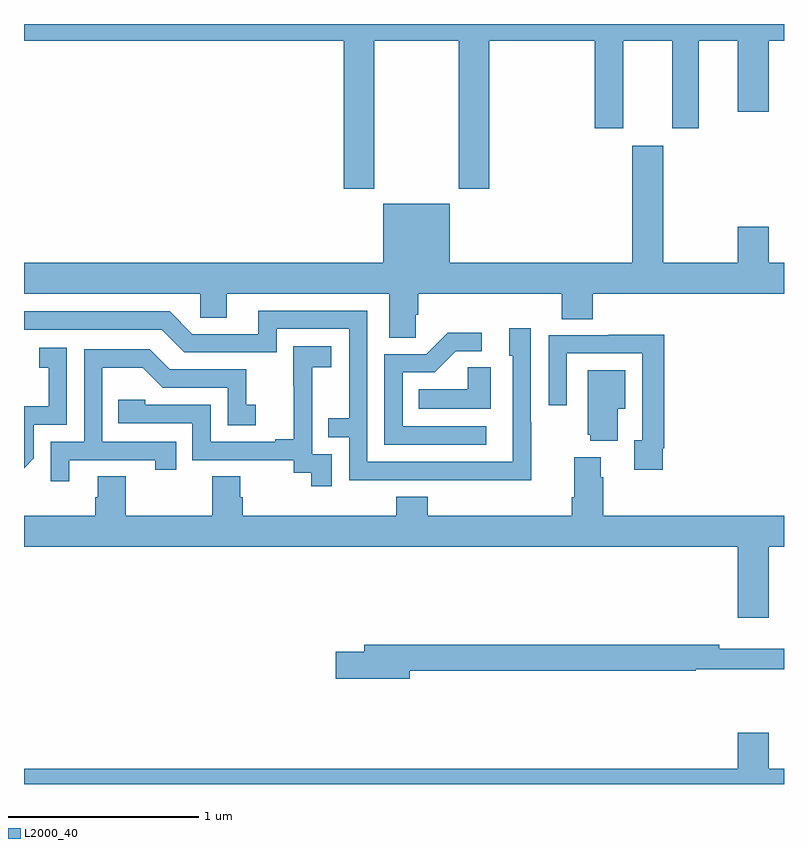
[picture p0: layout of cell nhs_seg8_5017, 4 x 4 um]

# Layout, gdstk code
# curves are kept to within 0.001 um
import gdstk
lib = gdstk.Library(unit=1e-6, precision=1e-09)
def P(c, l, *ps):  # polygons
    for p in ps: c.add(gdstk.Polygon(p, *l))
L2000_40 = (2000, 40)

nhs_seg8_5017 = lib.new_cell('nhs_seg8_5017')
P(nhs_seg8_5017, L2000_40, [(414.843,1137.812),(415.288,1137.812),(415.288,1137.033),(415.448,1137.033),(415.448,1137.812),(416.003,1137.812),(416.003,1137.351),(416.155,1137.351),(416.155,1137.812),(416.411,1137.812),(416.411,1137.351),(416.551,1137.351),(416.551,1137.812),(416.756,1137.812),(416.756,1137.438),(416.92,1137.438),(416.92,1137.812),(417,1137.812),(417,1137.9),(413,1137.9),(413,1137.812),(414.683,1137.812),(414.683,1137.033),(414.843,1137.033)],
  [(415.062,1136.371),(415.076,1136.371),(415.076,1136.48),(415.829,1136.48),(415.829,1136.347),(415.994,1136.347),(415.994,1136.48),(417,1136.48),(417,1136.644),(416.92,1136.644),(416.92,1136.833),(416.756,1136.833),(416.756,1136.644),(416.365,1136.644),(416.365,1137.259),(416.201,1137.259),(416.201,1136.644),(415.24,1136.644),(415.24,1136.953),(414.89,1136.953),(414.89,1136.644),(413,1136.644),(413,1136.48),(413.928,1136.48),(413.928,1136.353),(414.067,1136.353),(414.067,1136.48),(414.923,1136.48),(414.923,1136.248),(415.062,1136.248)],
  [(415.671,1135.805),(415.668,1135.805),(415.668,1136.299),(415.553,1136.299),(415.553,1136.154),(415.572,1136.154),(415.572,1135.596),(414.807,1135.596),(414.807,1136.391),(414.233,1136.391),(414.233,1136.268),(413.886,1136.268),(413.766,1136.388),(413,1136.388),(413,1136.292),(413.724,1136.292),(413.844,1136.172),(414.33,1136.172),(414.33,1136.295),(414.711,1136.295),(414.711,1135.826),(414.601,1135.826),(414.601,1135.725),(414.711,1135.725),(414.711,1135.5),(415.671,1135.499)],
  [(415.432,1135.782),(414.993,1135.782),(414.993,1136.067),(415.162,1136.067),(415.273,1136.178),(415.408,1136.178),(415.408,1136.276),(415.229,1136.276),(415.116,1136.163),(414.897,1136.163),(414.897,1135.686),(415.432,1135.686)],
  [(416.362,1135.666),(416.369,1135.666),(416.369,1136.264),(416.077,1136.264),(416.077,1136.262),(415.761,1136.262),(415.761,1135.893),(415.857,1135.893),(415.857,1136.166),(416.253,1136.166),(416.253,1135.71),(416.213,1135.71),(416.213,1135.554),(416.362,1135.554)],
  [(414.621,1135.635),(414.516,1135.635),(414.516,1135.865),(414.518,1135.865),(414.518,1136.093),(414.616,1136.093),(414.616,1136.203),(414.418,1136.203),(414.418,1135.997),(414.419,1135.997),(414.419,1135.714),(414.323,1135.714),(414.323,1135.701),(413.982,1135.701),(413.982,1135.896),(413.637,1135.896),(413.637,1135.923),(413.497,1135.923),(413.497,1135.8),(413.886,1135.8),(413.886,1135.605),(414.42,1135.605),(414.42,1135.537),(414.513,1135.537),(414.513,1135.467),(414.621,1135.467)],
  [(413.052,1135.614),(413.052,1135.791),(413.226,1135.791),(413.226,1136.197),(413.08,1136.197),(413.08,1136.091),(413.129,1136.091),(413.129,1135.887),(413,1135.887),(413,1135.563)],
  [(413.239,1135.605),(413.69,1135.605),(413.69,1135.554),(413.801,1135.554),(413.801,1135.701),(413.412,1135.701),(413.412,1136.09),(413.626,1136.09),(413.73,1135.986),(414.072,1135.986),(414.072,1135.788),(414.22,1135.788),(414.22,1135.897),(414.171,1135.897),(414.171,1136.082),(413.767,1136.082),(413.662,1136.187),(413.316,1136.187),(413.316,1135.701),(413.142,1135.701),(413.142,1135.494),(413.239,1135.494)],
  [(415.456,1136.093),(415.335,1136.093),(415.335,1135.978),(415.078,1135.978),(415.078,1135.874),(415.456,1135.874)],
  [(416.125,1135.874),(416.164,1135.874),(416.164,1136.077),(415.967,1136.077),(415.967,1135.737),(415.979,1135.737),(415.979,1135.706),(416.125,1135.706)],
  [(416.92,1135.148),(417,1135.148),(417,1135.312),(416.048,1135.312),(416.048,1135.514),(416.035,1135.514),(416.035,1135.621),(415.895,1135.621),(415.895,1135.408),(415.883,1135.408),(415.883,1135.312),(415.124,1135.312),(415.124,1135.411),(414.959,1135.411),(414.959,1135.312),(414.152,1135.312),(414.152,1135.41),(414.139,1135.41),(414.139,1135.52),(413.992,1135.52),(413.992,1135.312),(413.535,1135.312),(413.535,1135.52),(413.387,1135.52),(413.387,1135.41),(413.375,1135.41),(413.375,1135.312),(413,1135.312),(413,1135.148),(416.756,1135.148),(416.756,1134.774),(416.92,1134.774)],
  [(415.03,1134.496),(416.536,1134.496),(416.536,1134.504),(417,1134.504),(417,1134.613),(416.66,1134.613),(416.66,1134.632),(414.791,1134.632),(414.791,1134.596),(414.642,1134.596),(414.642,1134.454),(415.03,1134.454)],
  [(417,1133.98),(416.92,1133.98),(416.92,1134.169),(416.756,1134.169),(416.756,1133.98),(413,1133.98),(413,1133.9),(417,1133.9)])

lib.write_gds('nhs_seg8_5017.gds')
